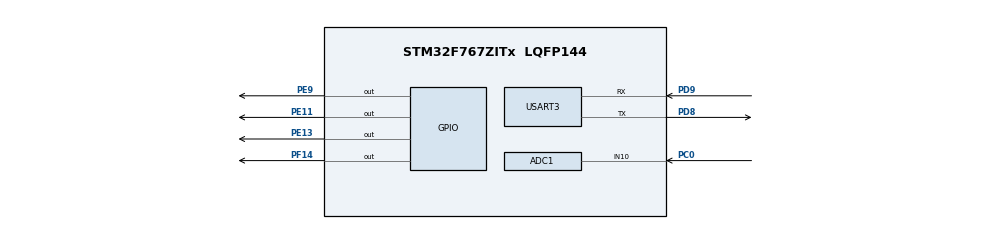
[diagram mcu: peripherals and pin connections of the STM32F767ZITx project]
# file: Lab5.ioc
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ADC1.Channel-0\#ChannelRegularConversion=ADC_CHANNEL_10
ADC1.ClockPrescaler=ADC_CLOCK_SYNC_PCLK_DIV4
ADC1.ContinuousConvMode=ENABLE
ADC1.DMAContinuousRequests=DISABLE
ADC1.DataAlign=ADC_DATAALIGN_RIGHT
ADC1.EOCSelection=ADC_EOC_SEQ_CONV
ADC1.NbrOfConversion=1
ADC1.NbrOfConversionFlag=1
ADC1.Rank-0\#ChannelRegularConversion=1
ADC1.SamplingTime-0\#ChannelRegularConversion=ADC_SAMPLETIME_3CYCLES
ADC1.ScanConvMode=ADC_SCAN_DISABLE
ADC1.master=1
Dma.ADC1.0.Direction=DMA_PERIPH_TO_MEMORY
Dma.ADC1.0.FIFOMode=DMA_FIFOMODE_ENABLE
Dma.ADC1.0.FIFOThreshold=DMA_FIFO_THRESHOLD_FULL
Dma.ADC1.0.Instance=DMA2_Stream0
Dma.ADC1.0.MemBurst=DMA_MBURST_SINGLE
Dma.ADC1.0.MemDataAlignment=DMA_MDATAALIGN_WORD
Dma.ADC1.0.MemInc=DMA_MINC_ENABLE
Dma.ADC1.0.Mode=DMA_CIRCULAR
Dma.ADC1.0.PeriphBurst=DMA_PBURST_SINGLE
Dma.ADC1.0.PeriphDataAlignment=DMA_PDATAALIGN_WORD
Dma.ADC1.0.PeriphInc=DMA_PINC_DISABLE
Dma.ADC1.0.Priority=DMA_PRIORITY_LOW
Dma.Request0=ADC1
Mcu.Family=STM32F7
Mcu.Name=STM32F767ZITx
Mcu.Package=LQFP144
NVIC.DMA2_Stream0_IRQn=true\:1\:0\:true\:false\:true\:false\:true\:true
NVIC.PriorityGroup=NVIC_PRIORITYGROUP_2
PC0.Signal=ADCx_IN10
PC3.Signal=S_DATAIN1DFSDM1
PD8.Mode=Asynchronous
PD8.Signal=USART3_TX
PD9.Mode=Asynchronous
PD9.Signal=USART3_RX
PE11.Signal=GPIO_Output
PE13.Signal=GPIO_Output
PE9.Signal=GPIO_Output
PF14.Signal=GPIO_Output
ProjectManager.HeapSize=0x200
ProjectManager.StackSize=0x400
ProjectManager.TargetToolchain=STM32CubeIDE
RCC.HSE_VALUE=25000000
RCC.HSI_VALUE=16000000
RCC.LSE_VALUE=32768
RCC.USBFreq_Value=96000000
RCC.VCOOutputFreq_Value=192000000
SH.ADCx_IN10.0=ADC1_IN10,IN10
SH.S_DATAIN1DFSDM1.0=DFSDM1_DATIN1
USART3.VirtualMode-Asynchronous=VM_ASYNC
board=custom

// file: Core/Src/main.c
/* USER CODE BEGIN Header */
/**
  ******************************************************************************
  * @file           : main.c
  * @brief          : Main program body
  ******************************************************************************
  * @attention
  *
  * Copyright (c) 2023 STMicroelectronics.
  * All rights reserved.
  *
  * This software is licensed under terms that can be found in the LICENSE file
  * in the root directory of this software component.
  * If no LICENSE file comes with this software, it is provided AS-IS.
  *
  ******************************************************************************
  */
/* USER CODE END Header */
#include "main.h"
#include "adc.h"
#include "dma.h"
#include "usart.h"
#include "gpio.h"
/* USER CODE BEGIN Includes */
#include "string.h"
#include "stdio.h"
/* USER CODE END Includes */
/* USER CODE BEGIN PV */
 volatile uint32_t adc_val = 0;
 char toHex[100];
 char vin_str[100];
 float vin;
 uint32_t hex1 = 501;
 int adc_avg_8;
 int adc_avg_16;

/* USER CODE END PV */

void SystemClock_Config(void);
/* USER CODE BEGIN 0 */
void displayHEX(uint32_t myNumber){
	sprintf(toHex,"0x%08X",myNumber);
};
void FindVin(uint32_t num){
	vin = (3.6f*num)/4096.0f;
	sprintf(vin_str,"%.2f",vin);
}

int average_8(int x)
{
	static int samples[8];
	static int i = 0;
	static int total = 0;

	total += x - samples[i];
	samples[i] = x;

	i = (i==7 ? 0 : i+1);

	return total>>3;
}

int average_16(int x)
{
	static int samples[16];
	static int i = 0;
	static int total = 0;

	total += x - samples[i];
	samples[i] = x;

	i = (i==15 ? 0 : i+1);

	return total>>4;
}
/* USER CODE END 0 */

int main(void)
{
  /* MCU Configuration--------------------------------------------------------*/
  /* Reset of all peripherals, Initializes the Flash interface and the Systick. */
  HAL_Init();
  /* Configure the system clock */
  SystemClock_Config();
  /* Initialize all configured peripherals */
  MX_GPIO_Init();
  MX_DMA_Init();
  MX_ADC1_Init();
  MX_USART3_UART_Init();
  /* Infinite loop */
  /* USER CODE BEGIN WHILE */
  HAL_ADC_Start(&hadc1);
  while (1)
  {
	  while(HAL_ADC_PollForConversion(&hadc1, 100) != HAL_OK){}
	  adc_val = HAL_ADC_GetValue(&hadc1);
	  displayHEX(adc_val);
	  //displayHEX(adc_val);
	  //while(__HAL_UART_GET_FLAG(&huart3,UART_FLAG_TC) == RESET){}
	  //HAL_UART_Transmit(&huart3, (uint8_t*) &toHex, strlen(toHex),1000);

	  //displayHEX(hex1);

	  while(__HAL_UART_GET_FLAG(&huart3,UART_FLAG_TC) == RESET){} //เช็�?ว่า Transmission complete รึยัง
	  FindVin(adc_val);
	  adc_avg_8 = average_8(adc_val);
	  adc_avg_16 = average_16(adc_val);
	  displayHEX(adc_avg_8);

	  char text[] = "ADC1_CH10 ";
	  char volt[] = "   Vin = ";
	  HAL_UART_Transmit(&huart3, (uint8_t*) &text, strlen(text),1000);
	  HAL_UART_Transmit(&huart3, (uint8_t*) &toHex, strlen(toHex),1000);
	  HAL_UART_Transmit(&huart3, (uint8_t*) &volt, strlen(volt),1000);
	  HAL_UART_Transmit(&huart3, (uint8_t*) &vin_str, strlen(vin_str),1000);
	  char new[] = "V \r\n ";
	  HAL_UART_Transmit(&huart3, (uint8_t*) &new, strlen(new),1000);
	  HAL_Delay(1000);
    /* USER CODE END WHILE */
  }
}
void SystemClock_Config(void)
{
  RCC_OscInitTypeDef RCC_OscInitStruct = {0};
  RCC_ClkInitTypeDef RCC_ClkInitStruct = {0};
  /** Configure the main internal regulator output voltage
  */
  __HAL_RCC_PWR_CLK_ENABLE();
  __HAL_PWR_VOLTAGESCALING_CONFIG(PWR_REGULATOR_VOLTAGE_SCALE3);
  /** Initializes the RCC Oscillators according to the specified parameters
  * in the RCC_OscInitTypeDef structure.
  */
  RCC_OscInitStruct.OscillatorType = RCC_OSCILLATORTYPE_HSI;
  RCC_OscInitStruct.HSIState = RCC_HSI_ON;
  RCC_OscInitStruct.HSICalibrationValue = RCC_HSICALIBRATION_DEFAULT;
  RCC_OscInitStruct.PLL.PLLState = RCC_PLL_NONE;
  if (HAL_RCC_OscConfig(&RCC_OscInitStruct) != HAL_OK)
  {
    Error_Handler();
  }
  /** Initializes the CPU, AHB and APB buses clocks
  */
  RCC_ClkInitStruct.ClockType = RCC_CLOCKTYPE_HCLK|RCC_CLOCKTYPE_SYSCLK
                              |RCC_CLOCKTYPE_PCLK1|RCC_CLOCKTYPE_PCLK2;
  RCC_ClkInitStruct.SYSCLKSource = RCC_SYSCLKSOURCE_HSI;
  RCC_ClkInitStruct.AHBCLKDivider = RCC_SYSCLK_DIV1;
  RCC_ClkInitStruct.APB1CLKDivider = RCC_HCLK_DIV1;
  RCC_ClkInitStruct.APB2CLKDivider = RCC_HCLK_DIV1;
  if (HAL_RCC_ClockConfig(&RCC_ClkInitStruct, FLASH_LATENCY_0) != HAL_OK)
  {
    Error_Handler();
  }
}
void Error_Handler(void)
{
  __disable_irq();
  while (1)
  {
  }
}
